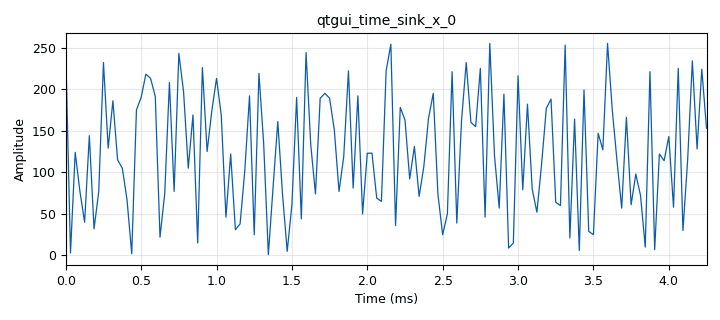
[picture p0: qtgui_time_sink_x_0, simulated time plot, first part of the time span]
<?xml version='1.0' encoding='utf-8'?>
<?grc format='1' created='3.7.6'?>
<flow_graph>
<block>
<key>options</key>
<param><key>id</key><value>top_block</value></param>
<param><key>generate_options</key><value>qt_gui</value></param>
<param><key>category</key><value>Custom</value></param>
</block>
<block>
<key>variable</key>
<param><key>id</key><value>samp_rate</value></param>
<param><key>value</key><value>32000</value></param>
</block>
<block>
<key>blocks_uchar_to_float</key>
<param><key>id</key><value>blocks_uchar_to_float_0</value></param>
</block>
<block>
<key>analog_random_source_x</key>
<param><key>id</key><value>analog_random_source_x_0</value></param>
<param><key>type</key><value>byte</value></param>
<param><key>min</key><value>0</value></param>
<param><key>max</key><value>256</value></param>
<param><key>num_samps</key><value>1000</value></param>
<param><key>repeat</key><value>True</value></param>
</block>
<block>
<key>qtgui_time_sink_x</key>
<param><key>id</key><value>qtgui_time_sink_x_0</value></param>
<param><key>type</key><value>float</value></param>
<param><key>size</key><value>1024</value></param>
<param><key>srate</key><value>samp_rate</value></param>
<param><key>grid</key><value>True</value></param>
<param><key>autoscale</key><value>True</value></param>
<param><key>label1</key><value></value></param>
<param><key>color1</key><value>"blue"</value></param>
</block>
<block>
<key>blocks_null_sink</key>
<param><key>id</key><value>blocks_null_sink_0</value></param>
<param><key>type</key><value>float</value></param>
<param><key>bus_conns</key><value>[[0,],]</value></param>
</block>
<connection><source_block_id>analog_random_source_x_0</source_block_id><sink_block_id>blocks_uchar_to_float_0</sink_block_id><source_key>0</source_key><sink_key>0</sink_key></connection>
<connection><source_block_id>blocks_uchar_to_float_0</source_block_id><sink_block_id>blocks_null_sink_0</sink_block_id><source_key>0</source_key><sink_key>0</sink_key></connection>
<connection><source_block_id>blocks_uchar_to_float_0</source_block_id><sink_block_id>qtgui_time_sink_x_0</sink_block_id><source_key>0</source_key><sink_key>0</sink_key></connection>
</flow_graph>
